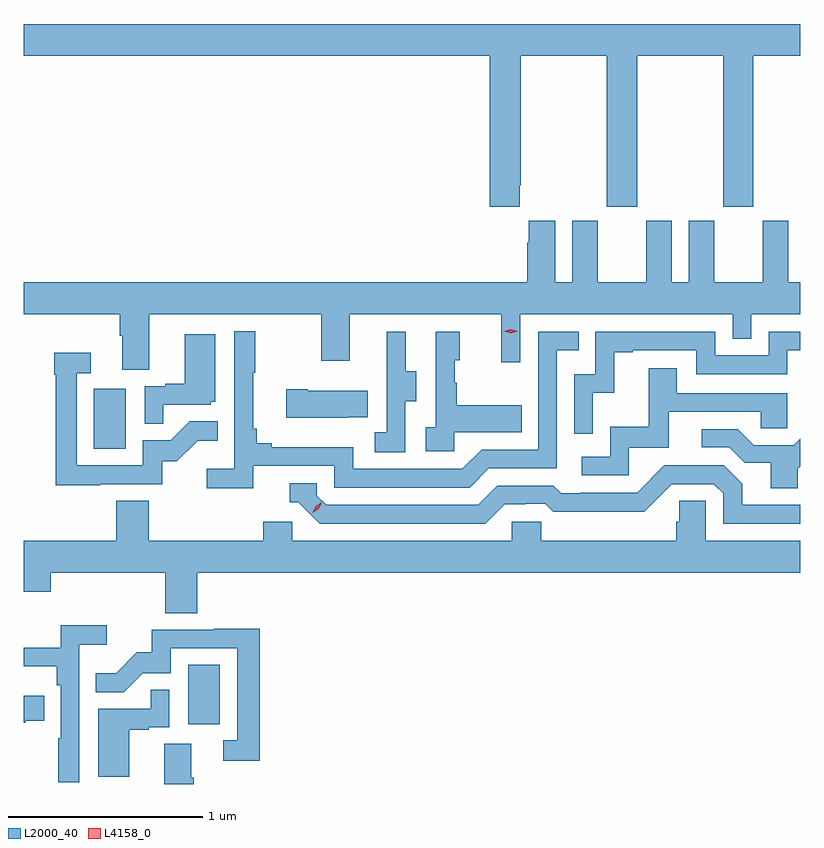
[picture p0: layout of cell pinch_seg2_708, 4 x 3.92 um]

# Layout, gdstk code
import gdstk
lib = gdstk.Library(unit=1e-6, precision=1e-09)
def R(c, l, rs):  # rectangles x0, y0, x1, y1
    for r in rs: c.add(gdstk.rectangle(r[:2], r[2:], *l))
def P(c, l, *ps):  # polygons
    for p in ps: c.add(gdstk.Polygon(p, *l))
L2000_40 = (2000, 40)
L4158_0 = (4158, 0)

pinch_seg2_708 = lib.new_cell('pinch_seg2_708')
R(pinch_seg2_708, L2000_40, [(1118.408,590.91,1118.572,591.217), (1117.922,592.332,1118.086,592.639)])
P(pinch_seg2_708, L2000_40, [(1120.117,593.689),(1120.122,593.689),(1120.122,594.356),(1120.567,594.356),(1120.567,593.577),(1120.722,593.577),(1120.722,594.356),(1121.167,594.356),(1121.167,593.577),(1121.322,593.577),(1121.322,594.356),(1121.562,594.356),(1121.562,594.52),(1117.562,594.52),(1117.562,594.356),(1119.962,594.356),(1119.962,593.577),(1120.117,593.577)],
  [(1121.369,593.506),(1121.369,593.188),(1121.119,593.188),(1121.119,593.506),(1120.988,593.506),(1120.988,593.188),(1120.9,593.188),(1120.9,593.506),(1120.769,593.506),(1120.769,593.188),(1120.519,593.188),(1120.519,593.506),(1120.388,593.506),(1120.388,593.188),(1120.3,593.188),(1120.3,593.506),(1120.163,593.506),(1120.163,593.393),(1120.157,593.393),(1120.157,593.188),(1117.562,593.188),(1117.562,593.024),(1118.057,593.024),(1118.057,592.912),(1118.069,592.912),(1118.069,592.738),(1118.209,592.738),(1118.209,593.024),(1119.094,593.024),(1119.094,592.785),(1119.241,592.785),(1119.241,593.024),(1120.022,593.024),(1120.022,592.776),(1120.119,592.776),(1120.119,593.024),(1121.214,593.024),(1121.214,592.897),(1121.31,592.897),(1121.31,593.024),(1121.562,593.024),(1121.562,593.188),(1121.5,593.188),(1121.5,593.506)],
  [(1118.744,592.242),(1119.162,592.242),(1119.162,592.131),(1119.859,592.131),(1119.958,592.23),(1120.308,592.23),(1120.308,592.839),(1120.421,592.839),(1120.421,592.935),(1120.212,592.935),(1120.212,592.326),(1119.921,592.326),(1119.822,592.227),(1119.258,592.227),(1119.258,592.339),(1118.839,592.339),(1118.839,592.358),(1118.762,592.358),(1118.762,592.435),(1118.743,592.435),(1118.743,592.723),(1118.755,592.723),(1118.755,592.936),(1118.646,592.936),(1118.646,592.228),(1118.505,592.228),(1118.505,592.126),(1118.744,592.126)],
  [(1120.494,592.619),(1120.604,592.619),(1120.604,592.827),(1120.699,592.827),(1120.699,592.839),(1121.028,592.839),(1121.028,592.716),(1121.496,592.716),(1121.496,592.839),(1121.562,592.839),(1121.562,592.935),(1121.4,592.935),(1121.4,592.812),(1121.124,592.812),(1121.124,592.935),(1120.506,592.935),(1120.506,592.716),(1120.398,592.716),(1120.398,592.407),(1120.494,592.407)],
  [(1119.78,592.415),(1120.127,592.415),(1120.127,592.555),(1119.793,592.555),(1119.793,592.67),(1119.783,592.67),(1119.783,592.788),(1119.808,592.788),(1119.808,592.933),(1119.684,592.933),(1119.684,592.442),(1119.633,592.442),(1119.633,592.317),(1119.78,592.317)],
  [(1119.528,592.576),(1119.583,592.576),(1119.583,592.731),(1119.529,592.731),(1119.529,592.933),(1119.431,592.933),(1119.431,592.719),(1119.432,592.719),(1119.432,592.415),(1119.369,592.415),(1119.369,592.312),(1119.528,592.312)],
  [(1118.279,592.557),(1118.526,592.557),(1118.526,592.572),(1118.548,592.572),(1118.548,592.921),(1118.39,592.921),(1118.39,592.666),(1118.291,592.666),(1118.291,592.653),(1118.184,592.653),(1118.184,592.459),(1118.279,592.459)],
  [(1117.955,592.149),(1118.274,592.149),(1118.274,592.266),(1118.35,592.266),(1118.457,592.373),(1118.561,592.373),(1118.561,592.472),(1118.417,592.472),(1118.319,592.374),(1118.175,592.374),(1118.175,592.245),(1117.833,592.245),(1117.833,592.719),(1117.906,592.719),(1117.906,592.825),(1117.717,592.825),(1117.717,592.712),(1117.725,592.712),(1117.725,592.144),(1117.955,592.144)],
  [(1120.68,592.335),(1120.885,592.335),(1120.885,592.521),(1121.359,592.521),(1121.359,592.437),(1121.496,592.437),(1121.496,592.617),(1120.927,592.617),(1120.927,592.747),(1120.783,592.747),(1120.783,592.444),(1120.584,592.444),(1120.584,592.29),(1120.437,592.29),(1120.437,592.194),(1120.68,592.194)],
  [(1119.227,592.493),(1119.335,592.493),(1119.335,592.63),(1119.025,592.63),(1119.025,592.638),(1118.913,592.638),(1118.913,592.49),(1119.227,592.49)],
  [(1121.551,592.228),(1121.562,592.239),(1121.562,592.383),(1121.529,592.35),(1121.323,592.35),(1121.242,592.431),(1121.055,592.431),(1121.055,592.338),(1121.196,592.338),(1121.276,592.258),(1121.411,592.258),(1121.411,592.126),(1121.551,592.126)],
  [(1120.039,592.044),(1120.146,592.044),(1120.146,592.047),(1120.249,592.047),(1120.291,592.005),(1120.524,592.005),(1120.524,592.007),(1120.76,592.007),(1120.902,592.149),(1121.118,592.149),(1121.166,592.101),(1121.166,591.945),(1121.562,591.945),(1121.562,592.041),(1121.263,592.041),(1121.263,592.151),(1121.169,592.245),(1120.863,592.245),(1120.722,592.104),(1120.429,592.104),(1120.429,592.101),(1120.33,592.101),(1120.291,592.14),(1120.002,592.14),(1119.903,592.041),(1119.12,592.041),(1119.072,592.089),(1119.072,592.152),(1118.933,592.152),(1118.933,592.056),(1118.976,592.056),(1119.087,591.945),(1119.94,591.945)],
  [(1121.562,591.856),(1121.076,591.856),(1121.076,592.064),(1120.939,592.064),(1120.939,591.954),(1120.925,591.954),(1120.925,591.856),(1120.227,591.856),(1120.227,591.954),(1120.077,591.954),(1120.077,591.856),(1118.946,591.856),(1118.946,591.954),(1118.795,591.954),(1118.795,591.856),(1118.204,591.856),(1118.204,592.064),(1118.039,592.064),(1118.039,591.856),(1117.562,591.856),(1117.562,591.594),(1117.7,591.594),(1117.7,591.692),(1118.291,591.692),(1118.291,591.484),(1118.456,591.484),(1118.456,591.692),(1121.562,591.692)],
  [(1117.848,591.32),(1117.99,591.32),(1117.99,591.422),(1117.751,591.422),(1117.751,591.306),(1117.562,591.306),(1117.562,591.209),(1117.732,591.209),(1117.732,591.113),(1117.752,591.113),(1117.752,590.84),(1117.74,590.84),(1117.74,590.613),(1117.848,590.613)],
  [(1118.777,591.404),(1118.539,591.404),(1118.539,591.399),(1118.221,591.399),(1118.221,591.282),(1118.144,591.282),(1118.037,591.175),(1117.933,591.175),(1117.933,591.076),(1118.077,591.076),(1118.175,591.174),(1118.319,591.174),(1118.319,591.303),(1118.661,591.303),(1118.661,590.829),(1118.589,590.829),(1118.589,590.724),(1118.777,590.724)],
  [(1118.104,590.883),(1118.204,590.883),(1118.204,590.895),(1118.31,590.895),(1118.31,591.089),(1118.215,591.089),(1118.215,590.991),(1117.946,590.991),(1117.946,590.64),(1118.104,590.64)],
  [(1117.569,590.929),(1117.667,590.929),(1117.667,591.058),(1117.562,591.058),(1117.562,590.918),(1117.569,590.918)],
  [(1118.438,590.636),(1118.425,590.636),(1118.425,590.81),(1118.285,590.81),(1118.285,590.603),(1118.438,590.603)])
P(pinch_seg2_708, L4158_0, [(1119.05,592.002),(1119.05,592.002),(1119.066,592.035),(1119.097,592.054),(1119.098,592.054),(1119.098,592.053),(1119.081,592.021),(1119.05,592.002)],
  [(1120.072,592.927),(1120.036,592.937),(1120.036,592.937),(1120.036,592.937),(1120.072,592.947),(1120.108,592.937),(1120.108,592.937),(1120.108,592.937)])

lib.write_gds('pinch_seg2_708.gds')
